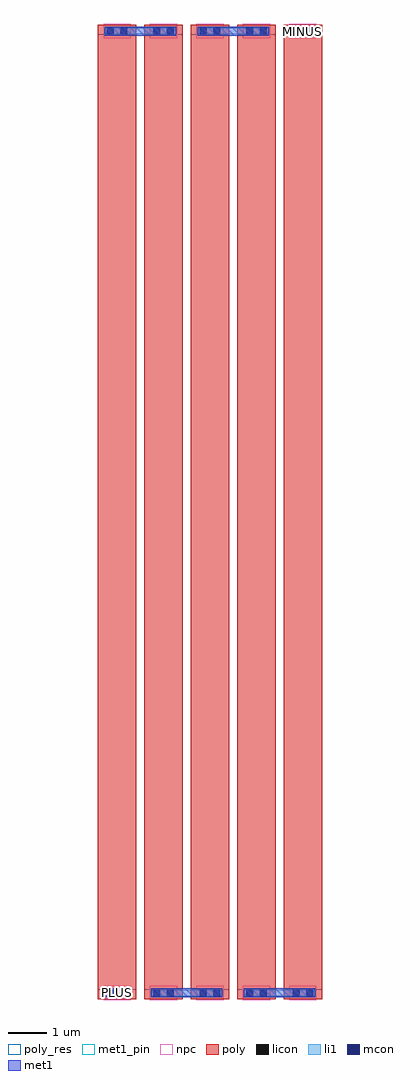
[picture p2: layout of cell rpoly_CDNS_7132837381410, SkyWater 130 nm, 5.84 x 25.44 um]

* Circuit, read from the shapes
.subckt rpoly_CDNS_7132837381410 MINUS PLUS
R1 n1 PLUS sky130_fd_pr__res_generic_po w=1 l=24.895
R2 n1 n2 sky130_fd_pr__res_generic_po w=1 l=24.895
R3 n3 n2 sky130_fd_pr__res_generic_po w=1 l=24.895
R4 n3 n4 sky130_fd_pr__res_generic_po w=1 l=24.895
R5 MINUS n4 sky130_fd_pr__res_generic_po w=1 l=24.895
.ends

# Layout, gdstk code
import gdstk
lib = gdstk.Library(unit=1e-6, precision=1e-09)
def R(c, l, rs):  # rectangles x0, y0, x1, y1
    for r in rs: c.add(gdstk.rectangle(r[:2], r[2:], *l))
def A(c, l, x, y, w, h, nx, ny, dx, dy):  # array of equal rectangles
    R(c, l, [(x+i*dx, y+j*dy, x+i*dx+w, y+j*dy+h) for i in range(nx) for j in range(ny)])
poly_res = (66, 13)
poly = (66, 20)
licon = (66, 44)
li1 = (67, 20)
mcon = (67, 44)
met1_pin = (68, 16)
met1 = (68, 20)
npc = (95, 20)

rpoly_cdns_7132837381410 = lib.new_cell('rpoly_CDNS_7132837381410')
A(rpoly_cdns_7132837381410, poly_res, 0, 0, 1, 24.895, 5, 1, 1.21, 0)
A(rpoly_cdns_7132837381410, poly, 0, -0.25, 1, 25.395, 5, 1, 1.21, 0)
R(rpoly_cdns_7132837381410, licon, [(0.245,-0.17,0.415,0), (0.585,-0.17,0.755,0), (1.455,-0.17,1.625,0), (1.795,-0.17,1.965,0), (2.665,-0.17,2.835,0), (3.005,-0.17,3.175,0), (3.875,-0.17,4.045,0), (4.215,-0.17,4.385,0), (5.085,-0.17,5.255,0), (5.425,-0.17,5.595,0), (0.245,24.895,0.415,25.065), (0.585,24.895,0.755,25.065), (1.455,24.895,1.625,25.065), (1.795,24.895,1.965,25.065), (2.665,24.895,2.835,25.065), (3.005,24.895,3.175,25.065), (3.875,24.895,4.045,25.065), (4.215,24.895,4.385,25.065), (5.085,24.895,5.255,25.065), (5.425,24.895,5.595,25.065)])
R(rpoly_cdns_7132837381410, li1, [(0.165,-0.17,0.835,0), (1.375,-0.17,3.255,0), (3.795,-0.17,5.675,0), (0.165,24.895,2.045,25.065), (2.585,24.895,4.465,25.065), (5.005,24.895,5.675,25.065)])
R(rpoly_cdns_7132837381410, mcon, [(0.235,-0.17,0.405,0), (0.595,-0.17,0.765,0), (1.445,-0.17,1.615,0), (1.805,-0.17,1.975,0), (2.655,-0.17,2.825,0), (3.015,-0.17,3.185,0), (3.865,-0.17,4.035,0), (4.225,-0.17,4.395,0), (5.075,-0.17,5.245,0), (5.435,-0.17,5.605,0), (0.235,24.895,0.405,25.065), (0.595,24.895,0.765,25.065), (1.445,24.895,1.615,25.065), (1.805,24.895,1.975,25.065), (2.655,24.895,2.825,25.065), (3.015,24.895,3.185,25.065), (3.865,24.895,4.035,25.065), (4.225,24.895,4.395,25.065), (5.075,24.895,5.245,25.065), (5.435,24.895,5.605,25.065)])
R(rpoly_cdns_7132837381410, met1_pin, [(0.175,-0.2,0.825,0.03), (5.015,24.865,5.665,25.095)])
R(rpoly_cdns_7132837381410, met1, [(0.175,-0.2,0.825,0.03), (1.385,-0.2,3.245,0.03), (3.805,-0.2,5.665,0.03), (0.175,24.865,2.035,25.095), (2.595,24.865,4.455,25.095), (5.015,24.865,5.665,25.095)])
A(rpoly_cdns_7132837381410, npc, 0.145, -0.27, 0.71, 0.37, 5, 2, 1.21, 25.065)
rpoly_cdns_7132837381410.add(gdstk.Label('MINUS', (5.34,24.98), layer=68, texttype=5))
rpoly_cdns_7132837381410.add(gdstk.Label('PLUS', (0.5,-0.085), layer=68, texttype=5))

lib.write_gds('rpoly_CDNS_7132837381410.gds')
